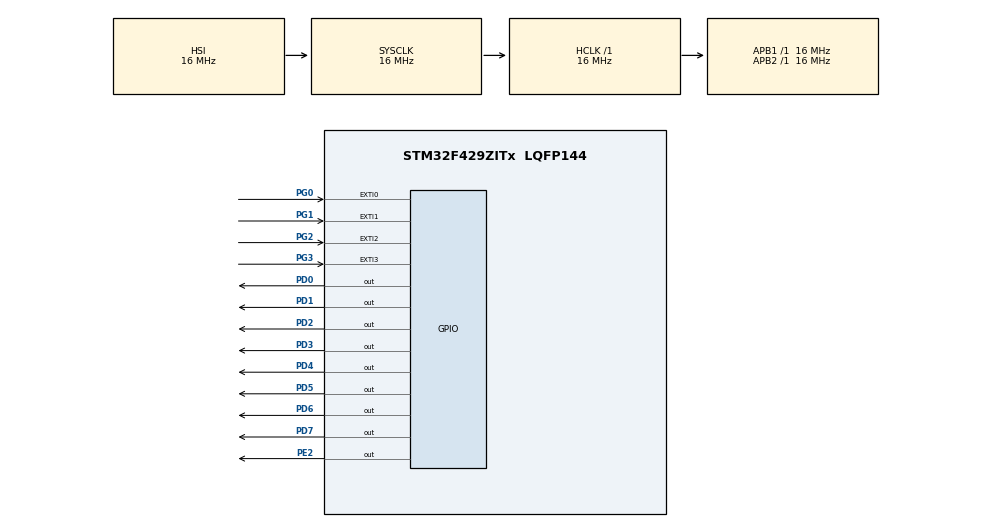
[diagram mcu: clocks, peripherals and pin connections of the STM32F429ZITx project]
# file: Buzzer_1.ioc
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Mcu.Family=STM32F4
Mcu.Name=STM32F429ZITx
Mcu.Package=LQFP144
NVIC.EXTI0_IRQn=true\:0\:0\:false\:false\:true\:true\:true\:true
NVIC.EXTI1_IRQn=true\:0\:0\:false\:false\:true\:true\:true\:true
NVIC.EXTI2_IRQn=true\:0\:0\:false\:false\:true\:true\:true\:true
NVIC.EXTI3_IRQn=true\:0\:0\:false\:false\:true\:true\:true\:true
NVIC.PriorityGroup=NVIC_PRIORITYGROUP_4
PA13.Mode=Serial_Wire
PA13.Signal=SYS_JTMS-SWDIO
PA14.Mode=Serial_Wire
PA14.Signal=SYS_JTCK-SWCLK
PD0.GPIO_ModeDefaultOutputPP=GPIO_MODE_OUTPUT_PP
PD0.GPIO_PuPd=GPIO_PULLUP
PD0.GPIO_Speed=GPIO_SPEED_FREQ_HIGH
PD0.PinState=GPIO_PIN_RESET
PD0.Signal=GPIO_Output
PD1.GPIO_ModeDefaultOutputPP=GPIO_MODE_OUTPUT_PP
PD1.GPIO_PuPd=GPIO_PULLUP
PD1.GPIO_Speed=GPIO_SPEED_FREQ_HIGH
PD1.PinState=GPIO_PIN_RESET
PD1.Signal=GPIO_Output
PD2.GPIO_ModeDefaultOutputPP=GPIO_MODE_OUTPUT_PP
PD2.GPIO_PuPd=GPIO_PULLUP
PD2.GPIO_Speed=GPIO_SPEED_FREQ_HIGH
PD2.PinState=GPIO_PIN_RESET
PD2.Signal=GPIO_Output
PD3.GPIO_ModeDefaultOutputPP=GPIO_MODE_OUTPUT_PP
PD3.GPIO_PuPd=GPIO_PULLUP
PD3.GPIO_Speed=GPIO_SPEED_FREQ_HIGH
PD3.PinState=GPIO_PIN_RESET
PD3.Signal=GPIO_Output
PD4.GPIO_ModeDefaultOutputPP=GPIO_MODE_OUTPUT_PP
PD4.GPIO_PuPd=GPIO_PULLUP
PD4.GPIO_Speed=GPIO_SPEED_FREQ_HIGH
PD4.PinState=GPIO_PIN_RESET
PD4.Signal=GPIO_Output
PD5.GPIO_ModeDefaultOutputPP=GPIO_MODE_OUTPUT_PP
PD5.GPIO_PuPd=GPIO_PULLUP
PD5.GPIO_Speed=GPIO_SPEED_FREQ_HIGH
PD5.PinState=GPIO_PIN_RESET
PD5.Signal=GPIO_Output
PD6.GPIO_ModeDefaultOutputPP=GPIO_MODE_OUTPUT_PP
PD6.GPIO_PuPd=GPIO_PULLUP
PD6.GPIO_Speed=GPIO_SPEED_FREQ_HIGH
PD6.PinState=GPIO_PIN_RESET
PD6.Signal=GPIO_Output
PD7.GPIO_ModeDefaultOutputPP=GPIO_MODE_OUTPUT_PP
PD7.GPIO_PuPd=GPIO_PULLUP
PD7.GPIO_Speed=GPIO_SPEED_FREQ_HIGH
PD7.PinState=GPIO_PIN_RESET
PD7.Signal=GPIO_Output
PE2.GPIO_ModeDefaultOutputPP=GPIO_MODE_OUTPUT_PP
PE2.GPIO_PuPd=GPIO_PULLUP
PE2.GPIO_Speed=GPIO_SPEED_FREQ_HIGH
PE2.PinState=GPIO_PIN_RESET
PE2.Signal=GPIO_Output
PG0.GPIO_ModeDefaultEXTI=GPIO_MODE_IT_FALLING
PG0.GPIO_PuPd=GPIO_NOPULL
PG0.Signal=GPXTI0
PG1.GPIO_ModeDefaultEXTI=GPIO_MODE_IT_FALLING
PG1.GPIO_PuPd=GPIO_NOPULL
PG1.Signal=GPXTI1
PG2.GPIO_ModeDefaultEXTI=GPIO_MODE_IT_FALLING
PG2.GPIO_PuPd=GPIO_NOPULL
PG2.Signal=GPXTI2
PG3.GPIO_ModeDefaultEXTI=GPIO_MODE_IT_FALLING
PG3.GPIO_PuPd=GPIO_NOPULL
PG3.Signal=GPXTI3
PH0/OSC_IN.Mode=HSE-External-Clock-Source
PH0/OSC_IN.Signal=RCC_OSC_IN
PH1/OSC_OUT.Mode=HSE-External-Clock-Source
PH1/OSC_OUT.Signal=RCC_OSC_OUT
ProjectManager.HeapSize=0x200
ProjectManager.StackSize=0x400
ProjectManager.TargetToolchain=STM32CubeIDE
RCC.AHBFreq_Value=16000000
RCC.APB1Freq_Value=16000000
RCC.APB2Freq_Value=16000000
RCC.CortexFreq_Value=16000000
RCC.HSE_VALUE=25000000
RCC.HSI_VALUE=16000000
RCC.LSE_VALUE=32768
RCC.SYSCLKFreq_VALUE=16000000
RCC.VCOOutputFreq_Value=192000000
board=custom

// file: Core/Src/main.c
/* USER CODE BEGIN Header */
/**
  ******************************************************************************
  * @file           : main.c
  * @brief          : Main program body
  ******************************************************************************
  * @attention
  *
  * Copyright (c) 2023 STMicroelectronics.
  * All rights reserved.
  *
  * This software is licensed under terms that can be found in the LICENSE file
  * in the root directory of this software component.
  * If no LICENSE file comes with this software, it is provided AS-IS.
  *
  ******************************************************************************
  */
/* USER CODE END Header */
#include "main.h"

void SystemClock_Config(void);
static void MX_GPIO_Init(void);
/* USER CODE BEGIN PFP */

void LED_OnOff(int,int);

/* USER CODE END PFP */

/* USER CODE BEGIN 0 */

int flag;

/* USER CODE END 0 */

int main(void)
{

  /* MCU Configuration--------------------------------------------------------*/

  /* Reset of all peripherals, Initializes the Flash interface and the Systick. */
  HAL_Init();

  /* Configure the system clock */
  SystemClock_Config();

  /* Initialize all configured peripherals */
  MX_GPIO_Init();
  /* USER CODE BEGIN 2 */

  flag=0;

  /* USER CODE END 2 */

  /* Infinite loop */
  /* USER CODE BEGIN WHILE */
  while (1)
  {
	  if(flag==1){
		  	HAL_GPIO_WritePin(GPIOE, GPIO_PIN_2, 1);

	  }
	  else if(flag==0){
		  	HAL_GPIO_WritePin(GPIOE, GPIO_PIN_2, 0);

	  }
    /* USER CODE END WHILE */

  }
}

void SystemClock_Config(void)
{
  RCC_OscInitTypeDef RCC_OscInitStruct = {0};
  RCC_ClkInitTypeDef RCC_ClkInitStruct = {0};

  /** Configure the main internal regulator output voltage
  */
  __HAL_RCC_PWR_CLK_ENABLE();
  __HAL_PWR_VOLTAGESCALING_CONFIG(PWR_REGULATOR_VOLTAGE_SCALE3);

  /** Initializes the RCC Oscillators according to the specified parameters
  * in the RCC_OscInitTypeDef structure.
  */
  RCC_OscInitStruct.OscillatorType = RCC_OSCILLATORTYPE_HSI;
  RCC_OscInitStruct.HSIState = RCC_HSI_ON;
  RCC_OscInitStruct.HSICalibrationValue = RCC_HSICALIBRATION_DEFAULT;
  RCC_OscInitStruct.PLL.PLLState = RCC_PLL_NONE;
  if (HAL_RCC_OscConfig(&RCC_OscInitStruct) != HAL_OK)
  {
    Error_Handler();
  }

  /** Initializes the CPU, AHB and APB buses clocks
  */
  RCC_ClkInitStruct.ClockType = RCC_CLOCKTYPE_HCLK|RCC_CLOCKTYPE_SYSCLK
                              |RCC_CLOCKTYPE_PCLK1|RCC_CLOCKTYPE_PCLK2;
  RCC_ClkInitStruct.SYSCLKSource = RCC_SYSCLKSOURCE_HSI;
  RCC_ClkInitStruct.AHBCLKDivider = RCC_SYSCLK_DIV1;
  RCC_ClkInitStruct.APB1CLKDivider = RCC_HCLK_DIV1;
  RCC_ClkInitStruct.APB2CLKDivider = RCC_HCLK_DIV1;

  if (HAL_RCC_ClockConfig(&RCC_ClkInitStruct, FLASH_LATENCY_0) != HAL_OK)
  {
    Error_Handler();
  }
}

static void MX_GPIO_Init(void)
{
  GPIO_InitTypeDef GPIO_InitStruct = {0};

  /* GPIO Ports Clock Enable */
  __HAL_RCC_GPIOE_CLK_ENABLE();
  __HAL_RCC_GPIOH_CLK_ENABLE();
  __HAL_RCC_GPIOG_CLK_ENABLE();
  __HAL_RCC_GPIOA_CLK_ENABLE();
  __HAL_RCC_GPIOD_CLK_ENABLE();

  /*Configure GPIO pin Output Level */
  HAL_GPIO_WritePin(GPIOE, GPIO_PIN_2, GPIO_PIN_RESET);

  /*Configure GPIO pin Output Level */
  HAL_GPIO_WritePin(GPIOD, GPIO_PIN_0|GPIO_PIN_1|GPIO_PIN_2|GPIO_PIN_3
                          |GPIO_PIN_4|GPIO_PIN_5|GPIO_PIN_6|GPIO_PIN_7, GPIO_PIN_RESET);

  /*Configure GPIO pin : PE2 */
  GPIO_InitStruct.Pin = GPIO_PIN_2;
  GPIO_InitStruct.Mode = GPIO_MODE_OUTPUT_PP;
  GPIO_InitStruct.Pull = GPIO_PULLUP;
  GPIO_InitStruct.Speed = GPIO_SPEED_FREQ_HIGH;
  HAL_GPIO_Init(GPIOE, &GPIO_InitStruct);

  /*Configure GPIO pins : PG0 PG1 PG2 PG3 */
  GPIO_InitStruct.Pin = GPIO_PIN_0|GPIO_PIN_1|GPIO_PIN_2|GPIO_PIN_3;
  GPIO_InitStruct.Mode = GPIO_MODE_IT_FALLING;
  GPIO_InitStruct.Pull = GPIO_NOPULL;
  HAL_GPIO_Init(GPIOG, &GPIO_InitStruct);

  /*Configure GPIO pins : PD0 PD1 PD2 PD3
                           PD4 PD5 PD6 PD7 */
  GPIO_InitStruct.Pin = GPIO_PIN_0|GPIO_PIN_1|GPIO_PIN_2|GPIO_PIN_3
                          |GPIO_PIN_4|GPIO_PIN_5|GPIO_PIN_6|GPIO_PIN_7;
  GPIO_InitStruct.Mode = GPIO_MODE_OUTPUT_PP;
  GPIO_InitStruct.Pull = GPIO_PULLUP;
  GPIO_InitStruct.Speed = GPIO_SPEED_FREQ_HIGH;
  HAL_GPIO_Init(GPIOD, &GPIO_InitStruct);

  /* EXTI interrupt init*/
  HAL_NVIC_SetPriority(EXTI0_IRQn, 0, 0);
  HAL_NVIC_EnableIRQ(EXTI0_IRQn);

  HAL_NVIC_SetPriority(EXTI1_IRQn, 0, 0);
  HAL_NVIC_EnableIRQ(EXTI1_IRQn);

  HAL_NVIC_SetPriority(EXTI2_IRQn, 0, 0);
  HAL_NVIC_EnableIRQ(EXTI2_IRQn);

  HAL_NVIC_SetPriority(EXTI3_IRQn, 0, 0);
  HAL_NVIC_EnableIRQ(EXTI3_IRQn);

}

/* USER CODE BEGIN 4 */

void LED_OnOff(int led, int interval)
{
	HAL_GPIO_WritePin(GPIO_LED, led, GPIO_PIN_SET );
	HAL_GPIO_WritePin(GPIO_LED_Nucleo, led, GPIO_PIN_SET );
	HAL_Delay(interval);
	HAL_GPIO_WritePin(GPIO_LED, led, GPIO_PIN_RESET );
	HAL_GPIO_WritePin(GPIO_LED_Nucleo, led, GPIO_PIN_RESET );
}
void HAL_GPIO_EXTI_Callback(uint16_t GPIO_PIN)
{
	if(flag==1){
			  flag=0;
		  }
		  else if(flag==0){
			  flag=1;
		  }
}

/* USER CODE END 4 */

void Error_Handler(void)
{
  __disable_irq();
  while (1)
  {
  }
}
